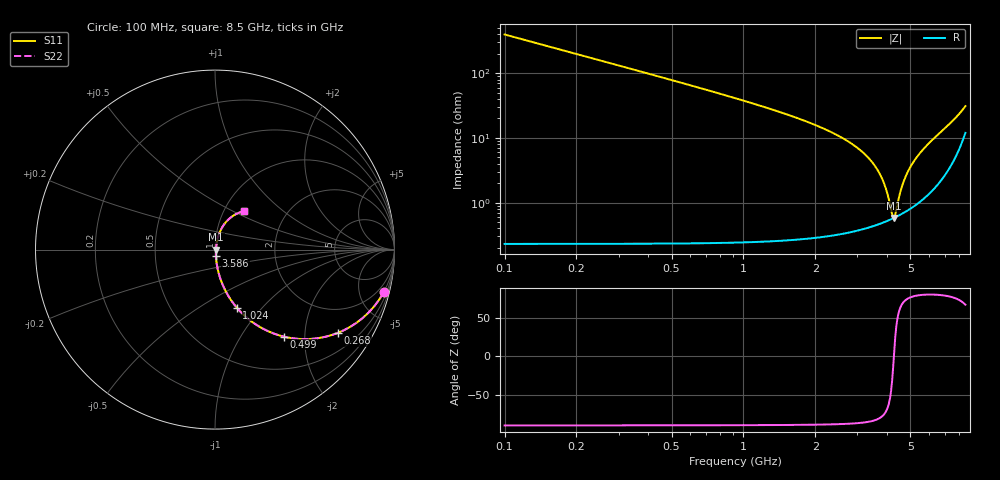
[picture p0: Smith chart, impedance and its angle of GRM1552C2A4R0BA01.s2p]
!Murata Part Number: GRM1552C2A4R0BA01
!These Parameters are Measured in Series Mode Connection
!Data Generated on Mar 30, 2021
!  o--ll--o
!Port1  Port2
!  o------o
!Operation Temp=25[degC], DC Bias Voltage=0[V]
!Freq. Start=100[MHz] Stop=9[GHz] 401[Steps]
# Hz S RI R 50
!Freq.(Hz) S11(Real) S11(Imag) S21(Real) S21(Imag) S12(Real) S12(Imag) S22(Real) S22(Imag)
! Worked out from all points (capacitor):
!   401 points, 100 MHz to 8.5 GHz, reference 50 ohm
!   read as one part in series: C = 4 pF near 142 MHz
!   lowest |Z| = 579 mohm at 4.258 GHz (marker M1)
!   series resonance near 4.265 GHz, so ESL is about 350 pH
!   S11 on the Smith chart (normalised r, x): 100 MHz: 1.00, -7.95; 268 MHz: 1.00, -2.96; 499 MHz: 1.00, -1.57; 1.024 GHz: 1.00, -0.74; 3.586 GHz: 1.01, -0.07; 8.5 GHz: 1.24, +0.57
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1e8  0.9404 -0.2364  0.0596 0.2364  0.0596 0.2364  0.9404 -0.2364
1.84e8  0.8231 -0.3811  0.1769 0.3811  0.1769 0.3811  0.8231 -0.3811
2.68e8  0.6861 -0.4633  0.3139 0.4633  0.3139 0.4633  0.6861 -0.4633
3.73e8  0.5287 -0.4981  0.4713 0.4981  0.4713 0.4981  0.5287 -0.4981
4.99e8  0.3831 -0.4847  0.6169 0.4847  0.6169 0.4847  0.3831 -0.4847
7.3e8  0.2206 -0.4125  0.7794 0.4125  0.7794 0.4125  0.2206 -0.4125
1.024e9  0.121 -0.3228  0.879 0.3228  0.879 0.3228  0.121 -0.3228
1.507e9  0.054 -0.2205  0.946 0.2205  0.946 0.2205  0.054 -0.2205
2.914e9  0.00929 -0.0752  0.9907 0.0752  0.9907 0.0752  0.00929 -0.0752
3.292e9  0.00667 -0.0512  0.9933 0.0512  0.9933 0.0512  0.00667 -0.0512
3.586e9  0.00565 -0.0345  0.9943 0.0345  0.9943 0.0345  0.00565 -0.0345
3.901e9  0.00532 -0.018  0.9947 0.018  0.9947 0.018  0.00532 -0.018
4.027e9  0.00538 -0.0116  0.9946 0.0116  0.9946 0.0116  0.00538 -0.0116
4.195e9  0.00562 -0.00338  0.9944 0.00338  0.9944 0.00338  0.00562 -0.00338
4.258e9  0.00575 -0.000346  0.9943 0.000346  0.9943 0.000346  0.00575 -0.000346
4.3e9  0.00585 0.00167  0.9941 -0.00167  0.9941 -0.00167  0.00585 0.00167
4.552e9  0.00669 0.0135  0.9933 -0.0135  0.9933 -0.0135  0.00669 0.0135
4.804e9  0.00792 0.0251  0.9921 -0.0251  0.9921 -0.0251  0.00792 0.0251
5.182e9  0.0105 0.0423  0.9895 -0.0423  0.9895 -0.0423  0.0105 0.0423
5.707e9  0.0159 0.0663  0.9841 -0.0663  0.9841 -0.0663  0.0159 0.0663
7.114e9  0.0484 0.1371  0.9516 -0.1371  0.9516 -0.1371  0.0484 0.1371
8.5e9  0.1617 0.2142  0.8383 -0.2142  0.8383 -0.2142  0.1617 0.2142
